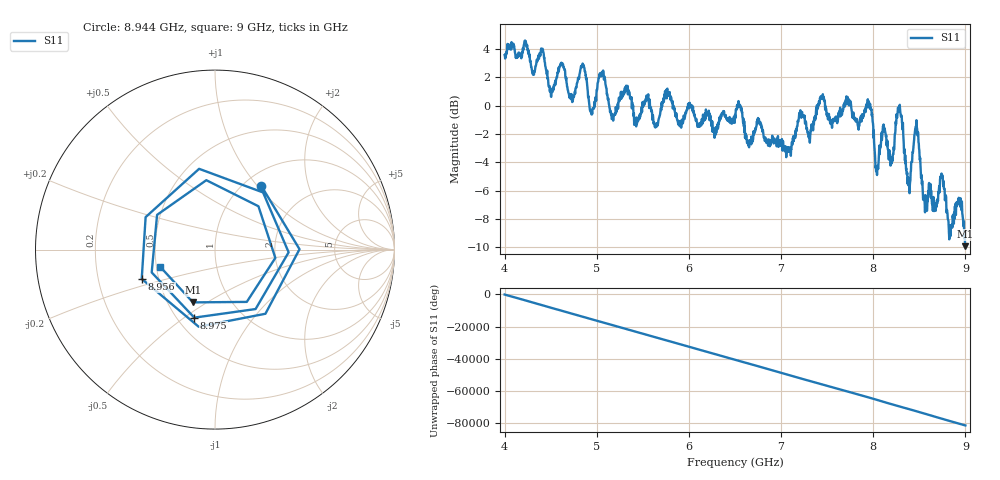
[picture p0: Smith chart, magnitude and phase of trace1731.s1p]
! Created with skrf 1.8.0 (http://scikit-rf.org).
# Hz S RI R 50.0
!freq ReS11 ImS11
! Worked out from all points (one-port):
!   1601 points, 4 GHz to 9 GHz, reference 50 ohm
!   lowest |S11| = -9.9 dB at 8.997 GHz (marker M1), VSWR 1.94, Z = 33.3 - j21.8 ohm
!   |S11| at or under -10 dB: nowhere
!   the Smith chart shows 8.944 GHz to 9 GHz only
!   S11 on the Smith chart (normalised r, x): 8.944 GHz: 1.19, +1.05; 8.956 GHz: 0.40, -0.16; 8.975 GHz: 0.61, -0.55; 9 GHz: 0.53, -0.11
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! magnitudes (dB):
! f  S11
! 4 GHz  3.6
! 4.406 GHz  3.8
! 4.506 GHz  0.6
! 4.625 GHz  3.0
! 4.728 GHz  0.5
! 4.853 GHz  2.8
! 4.944 GHz  -0.6
! 5.05 GHz  2.3
! 5.162 GHz  -0.9
! 5.25 GHz  0.4
! 5.875 GHz  -1.0
! 6.5 GHz  -0.7
! 7.125 GHz  -2.7
! 7.444 GHz  0.6
! 7.75 GHz  0.0
! 7.962 GHz  -0.1
! 8.044 GHz  -4.4
! 8.116 GHz  -1.6
! 8.203 GHz  -3.7
! 8.288 GHz  0.1
! 8.375 GHz  -5.4
! 8.469 GHz  -1.0
! 8.562 GHz  -7.5
! 8.944 GHz  -7.1
! 8.956 GHz  -7.1
! 8.975 GHz  -8.0
! 8.997 GHz  -9.9
! 9 GHz  -9.9
